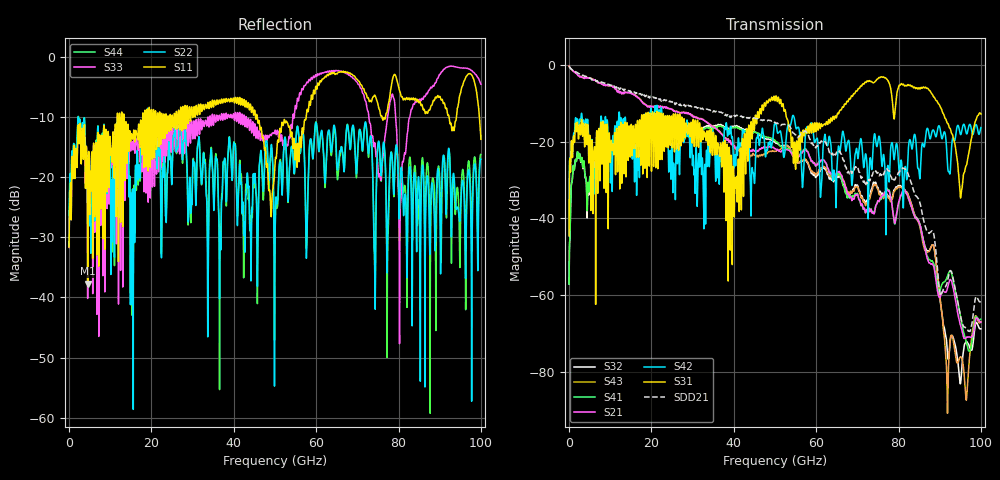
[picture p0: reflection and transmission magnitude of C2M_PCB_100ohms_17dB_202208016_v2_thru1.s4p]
! Info: Touchstone file created by Circ.  Input file=Intel_C2M_200G_5p5in_202208016_staggered.circ
# Hz S RI R 50
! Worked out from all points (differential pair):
!   10000 points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, 10 MHz to 100 GHz, reference 50 ohm
!   strongest paths, dB at 10 MHz, 25.01 GHz, 50.01 GHz, 75.01 GHz, 100 GHz:
!     S31: -44.5, -17.8, -9.3, -3.5, -12.7
!     S42: -44.5, -20.8, -15.2, -19.8, -16.3
!     S21: -0.2, -11.5, -21.8, -35.3, -67.1
!     S41: -57.1, -18.5, -19.6, -35.3, -66.3
!     S43: -0.2, -11.5, -22.4, -32.4, -67.0
!     S32: -57.1, -18.2, -20.1, -31.9, -68.8
!   taken as a pair (ports 1,3 in; 2,4 out), SDD21 dB: -0.2, -9.5, -14.9, -28.0, -61.7
!   lowest |S11| = -37.7 dB at 4.52 GHz (marker M1), VSWR 1.03, Z = 49.9 - j1.3 ohm
!   |S11| at or under -10 dB: start of sweep to 11.68 GHz; 13.34 GHz to 17.86 GHz (4.518 GHz wide, 29 % of centre); 45.69 GHz to 57.57 GHz (11.88 GHz wide, 23 % of centre)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
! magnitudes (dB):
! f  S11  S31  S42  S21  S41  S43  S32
! 10 MHz  -31.6  -44.5  -44.5  -0.2  -57.1  -0.2  -57.1
! 1.42 GHz  -20.1  -17.7  -15.8  -1.8  -25.5  -1.8  -25.6
! 4.52 GHz  -37.7  -15.4  -14.2  -3.3  -31.9  -3.3  -32.4
! 44.09 GHz  -7.9  -15.9  -33.6  -22.2  -17.3  -23.5  -17.1
! 80.82 GHz  -6.5  -4.9  -26.4  -33.3  -33.6  -32.0  -31.7
! 91.8 GHz  -9.0  -15.0  -24.2  -58.5  -55.3  -85.5  -73.9
! 100 GHz  -13.6  -12.7  -16.3  -67.1  -66.3  -67.0  -68.8
